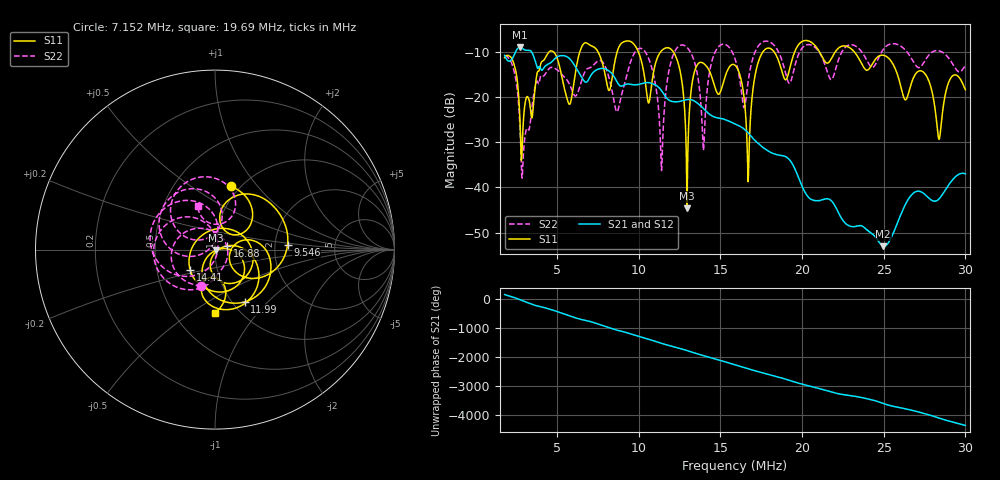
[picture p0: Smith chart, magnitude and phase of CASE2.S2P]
!Agilent Technologies,E5061B,MY49101568,A.02.00
!Date: Wed Mar 01 14:24:44 2023
!Data & Calibration Information:
!Freq	S11:SOLT2(OFF)	S21:SOLT2(OFF)	S12:SOLT2(OFF)	S22:SOLT2(OFF)
# Hz S dB R 50
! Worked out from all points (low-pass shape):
!   1155 points, 1.8 MHz to 30 MHz, reference 50 ohm
!   highest |S21| = -9.05 dB at 2.753 MHz (marker M1); lowest = -53.0 dB at 24.97 MHz (marker M2)
!   |S21| within 3 dB of the highest: 2.137 MHz to 3.672 MHz (1.535 MHz wide, 52.8 % of centre); 4.746 MHz to 5.892 MHz (1.147 MHz wide, 21.6 % of centre)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
!   lowest |S11| = -44.6 dB at 12.97 MHz (marker M3), VSWR 1.01, Z = 50.4 - j0.471 ohm
!   |S11| at or under -10 dB: start of sweep to 4.541 MHz; 12.11 MHz to 17.62 MHz (5.506 MHz wide, 37 % of centre); 23.18 MHz to end of sweep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
!   |S22| runs from -37.9 to -7.7 dB; largest |S21 - S12| = 0.0045
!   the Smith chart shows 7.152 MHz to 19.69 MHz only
!   S11 on the Smith chart (normalised r, x): 7.152 MHz: 0.91, +0.74; 9.546 MHz: 2.35, +0.15; 11.99 MHz: 1.14, -0.75; 14.41 MHz: 0.74, -0.17; 16.88 MHz: 1.15, +0.05; 19.69 MHz: 0.77, -0.63
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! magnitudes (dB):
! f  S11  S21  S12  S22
! 1.8 MHz  -11.3  -10.8  -10.8  -11.1
! 2.753 MHz  -26.2  -9.0  -9.0  -27.8
! 6.516 MHz  -9.0  -15.7  -15.6  -16.4
! 7.152 MHz  -8.8  -14.9  -14.8  -13.3
! 8.691 MHz  -10.0  -16.8  -16.7  -23.3
! 9.546 MHz  -7.9  -17.3  -17.2  -11.9
! 10.6 MHz  -21.3  -16.8  -16.9  -11.4
! 11.21 MHz  -10.9  -17.8  -17.9  -22.2
! 11.43 MHz  -9.7  -18.8  -18.8  -35.0
! 11.99 MHz  -9.5  -21.0  -21.0  -12.2
! 12.97 MHz  -44.6  -20.6  -20.7  -9.1
! 13.97 MHz  -12.6  -22.6  -22.6  -31.8
! 14.41 MHz  -14.9  -24.0  -24.1  -13.3
! 15.9 MHz  -13.0  -26.0  -26.0  -11.6
! 16.88 MHz  -22.9  -28.7  -28.7  -13.1
! 17.61 MHz  -10.0  -31.2  -31.3  -7.8
! 19.69 MHz  -9.0  -36.9  -37.0  -11.6
! 20.62 MHz  -8.1  -42.8  -42.7  -8.6
! 24.97 MHz  -10.8  -53.0  -52.8  -9.6
! 25.31 MHz  -11.5  -52.1  -52.0  -8.5
! 28.39 MHz  -29.4  -42.5  -42.5  -9.8
! 30 MHz  -18.4  -37.0  -36.9  -13.0
